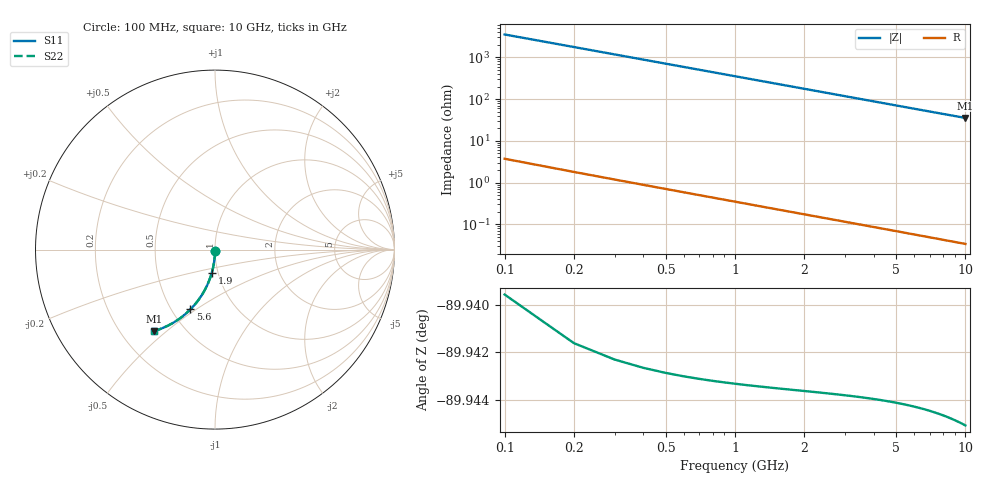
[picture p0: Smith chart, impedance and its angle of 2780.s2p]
# Hz S RI R 50.00
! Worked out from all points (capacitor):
!   100 points, 100 MHz to 10 GHz, reference 50 ohm
!   read as one part in shunt: C = 450 fF near 100 MHz
!   lowest |Z| = 35.5 ohm at 10 GHz (marker M1)
!   S11 on the Smith chart (normalised r, x): 100 MHz: 1.00, -0.01; 1.9 GHz: 0.93, -0.24; 5.6 GHz: 0.62, -0.47; 10 GHz: 0.34, -0.45
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1e8  -1.98e-05 -0.00688  0.9999 -0.00725  0.9999 -0.00725  -1.98e-05 -0.00688
2e8  -0.000176 -0.0138  0.9997 -0.0145  0.9997 -0.0145  -0.000176 -0.0138
3e8  -0.000432 -0.0206  0.9995 -0.0217  0.9995 -0.0217  -0.000432 -0.0206
4e8  -0.000788 -0.0275  0.9991 -0.029  0.9991 -0.029  -0.000788 -0.0275
5e8  -0.00124 -0.0344  0.9987 -0.0362  0.9987 -0.0362  -0.00124 -0.0344
6e8  -0.0018 -0.0412  0.9981 -0.0434  0.9981 -0.0434  -0.0018 -0.0412
7e8  -0.00245 -0.0481  0.9975 -0.0507  0.9975 -0.0507  -0.00245 -0.0481
8e8  -0.0032 -0.0549  0.9967 -0.0579  0.9967 -0.0579  -0.0032 -0.0549
9e8  -0.00405 -0.0617  0.9959 -0.065  0.9959 -0.065  -0.00405 -0.0617
1.1e9  -0.00605 -0.0752  0.9939 -0.0793  0.9939 -0.0793  -0.00605 -0.0752
1.4e9  -0.00976 -0.0954  0.9902 -0.1006  0.9902 -0.1006  -0.00976 -0.0954
1.8e9  -0.016 -0.1219  0.9839 -0.1286  0.9839 -0.1286  -0.016 -0.1219
1.9e9  -0.0178 -0.1285  0.9821 -0.1356  0.9821 -0.1356  -0.0178 -0.1285
2.2e9  -0.0238 -0.1479  0.9761 -0.1561  0.9761 -0.1561  -0.0238 -0.1479
2.6e9  -0.0329 -0.1731  0.967 -0.1829  0.967 -0.1829  -0.0329 -0.1731
3.4e9  -0.055 -0.2213  0.9448 -0.234  0.9448 -0.234  -0.055 -0.2213
4.2e9  -0.0817 -0.2656  0.9181 -0.2814  0.9181 -0.2814  -0.0817 -0.2656
5.1e9  -0.1161 -0.3104  0.8836 -0.3296  0.8836 -0.3296  -0.1161 -0.3104
5.6e9  -0.1368 -0.3328  0.8629 -0.3539  0.8629 -0.3539  -0.1368 -0.3328
6.7e9  -0.1853 -0.3755  0.8143 -0.4009  0.8143 -0.4009  -0.1853 -0.3755
8.4e9  -0.264 -0.4244  0.7354 -0.4565  0.7354 -0.4565  -0.264 -0.4244
1e10  -0.3378 -0.4534  0.6614 -0.4918  0.6614 -0.4918  -0.3378 -0.4534
